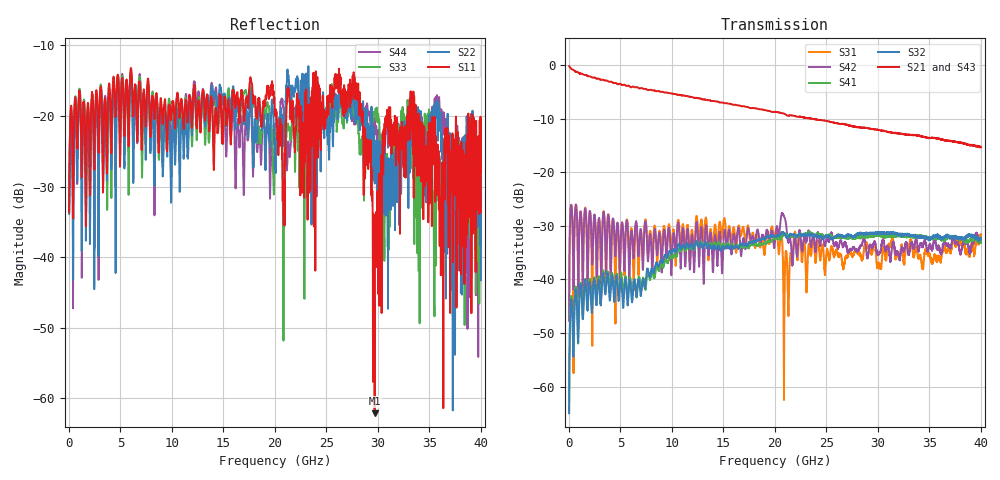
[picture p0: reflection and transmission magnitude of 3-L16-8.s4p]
! MS46524B
! 1918203/M1: 91020113/M2: 91020112
! 9/9/2020 2:28:19 PM
! C:\USERS\ANRITSUUSER\DESKTOP\2118 -5.S4P
! CHANNEL.1
! TR.MEASUREMENT
! CORRECTED.DATA
# GHZ S RI R 50.0
! FREQ.GHZ  S11RE  S11IM  S12RE  S12IM  S13RE  S13IM  S14RE  S14IM
!  S21RE  S21IM  S22RE  S22IM  S23RE  S23IM  S24RE  S24IM
!  S31RE  S31IM  S32RE  S32IM  S33RE  S33IM  S34RE  S34IM
!  S41RE  S41IM  S42RE  S42IM  S43RE  S43IM  S44RE  S44IM
!; PortSelection: Port_1234
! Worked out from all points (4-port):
!   4000 points, 10 MHz to 40 GHz, reference 50 ohm
!   strongest paths, dB at 10 MHz, 10.01 GHz, 20.01 GHz, 30.01 GHz, 40 GHz:
!     S21: -0.2, -5.3, -8.7, -12.1, -15.4
!     S43: -0.2, -5.4, -8.8, -12.2, -14.9
!     S32: -65.0, -35.1, -32.1, -31.3, -32.3
!     S41: -64.4, -36.1, -32.4, -31.8, -33.1
!     S42: -47.6, -35.7, -32.6, -35.3, -32.3
!     S31: -47.7, -32.9, -31.6, -37.8, -31.8
!   lowest |S11| = -62.1 dB at 29.68 GHz (marker M1), VSWR 1.00, Z = 50.1 + j0.00885 ohm
!   |S11| at or under -10 dB: start of sweep to end of sweep
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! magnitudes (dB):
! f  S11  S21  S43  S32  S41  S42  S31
! 10 MHz  -33.7  -0.2  -0.2  -65.0  -64.4  -47.6  -47.7
! 3.36 GHz  -23.5  -2.8  -2.7  -39.3  -38.6  -27.4  -27.3
! 27.72 GHz  -14.3  -11.5  -11.5  -32.0  -32.1  -34.1  -35.0
! 29.68 GHz  -62.1  -12.0  -12.1  -31.3  -31.9  -32.9  -33.3
! 31 GHz  -19.7  -12.5  -12.4  -31.3  -31.9  -34.1  -33.5
! 39.16 GHz  -30.0  -15.0  -14.7  -31.8  -32.6  -33.1  -33.4
! 40 GHz  -33.6  -15.4  -14.9  -32.3  -33.1  -32.3  -31.8
